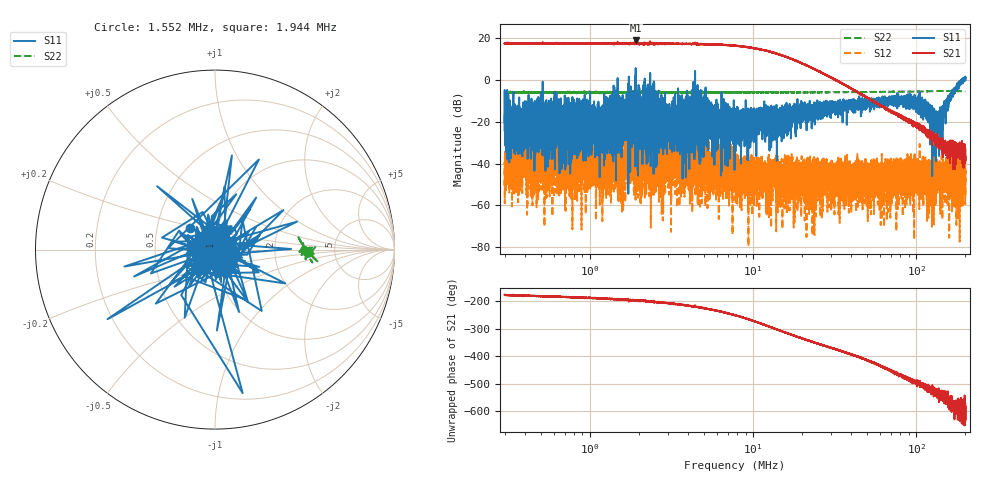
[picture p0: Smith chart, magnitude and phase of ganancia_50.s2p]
# Hz S DB R 50
! CMT, M5065, 19127446, 24.2.4/2
! Date: 11/1/2024 4:45:10 PM
! Data: Format (Calibration Info)
! Freq	S11:dB/Ang(F2)	S21:dB/Ang(F2)	S12:dB/Ang(F2)	S22:dB/Ang(F2)
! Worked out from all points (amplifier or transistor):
!   9000 points, 300 kHz to 200 MHz, reference 50 ohm
!   highest |S21| = 19.1 dB at 1.907 MHz (marker M1)
!   |S21| within 3 dB of that: start of sweep to 8.755 MHz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
!   unconditionally stable (mu >= 1): 2.654 MHz to 3.792 MHz; 4.923 MHz to 187.7 MHz; 190.1 MHz to 191.1 MHz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
!   at 886.8 kHz: K = 7.55, MAG = 18.9 dB, |S12| = -43.8 dB
!   at 7.749 MHz: K = 4.73, MAG = 17.8 dB, |S12| = -38.5 dB
!   at 200 MHz: K = -2011.29, MSG = 5.8 dB, |S12| = -48.2 dB
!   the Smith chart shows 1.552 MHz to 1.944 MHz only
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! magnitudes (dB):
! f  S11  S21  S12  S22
! 300 kHz  -24.0  17.7  -50.6  -5.9
! 310.8 kHz  -28.2  17.7  -37.3  -5.9
! 346.9 kHz  -28.5  17.7  -38.1  -6.0
! 542.9 kHz  -18.2  17.8  -47.8  -5.8
! 886.8 kHz  -15.6  17.5  -43.8  -5.9
! 1.226 MHz  -27.7  17.6  -34.9  -5.9
! 1.907 MHz  5.8  19.1  -41.6  -5.8
! 2.621 MHz  -28.9  17.5  -39.1  -5.8
! 3.569 MHz  -20.8  17.4  -38.2  -5.8
! 3.811 MHz  -23.8  17.4  -37.3  -5.8
! 4.121 MHz  -23.1  17.4  -38.5  -5.9
! 4.401 MHz  -35.6  17.3  -28.7  -5.6
! 7.749 MHz  -23.2  16.5  -38.5  -5.9
! 22.91 MHz  -14.8  5.9  -42.1  -5.9
! 45.21 MHz  -12.3  -6.3  -48.0  -5.7
! 56.11 MHz  -9.6  -10.8  -48.7  -5.6
! 61.55 MHz  -9.3  -12.7  -59.7  -5.6
! 67.71 MHz  -11.4  -14.5  -45.7  -5.6
! 105.2 MHz  -10.0  -22.9  -42.7  -5.5
! 134.5 MHz  -19.0  -27.8  -42.4  -5.2
! 161.1 MHz  -10.0  -28.9  -39.7  -5.2
! 200 MHz  1.2  -36.6  -48.2  -5.3
